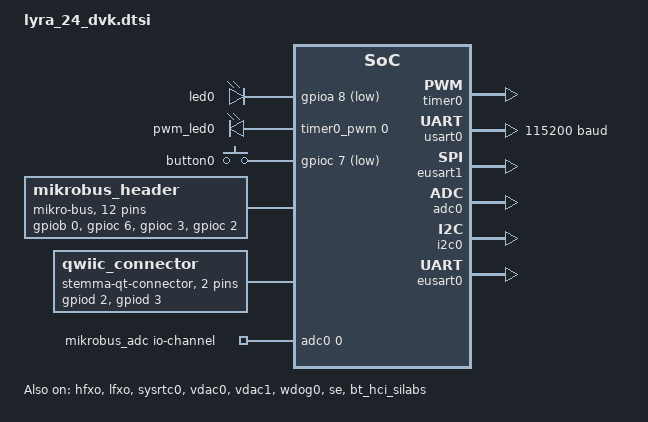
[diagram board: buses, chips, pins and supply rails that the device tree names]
/*
 * Copyright (c) 2020 TriaGnoSys GmbH
 * Copyright (c) 2026 Ezurio LLC
 *
 * SPDX-License-Identifier: Apache-2.0
 */

#include <zephyr/dt-bindings/input/input-event-codes.h>
#include <zephyr/dt-bindings/regulator/silabs_dcdc.h>
#include <zephyr/dt-bindings/pwm/pwm.h>
#include "lyra_24_dvk-pinctrl.dtsi"

/ {
	chosen {
		zephyr,bt-hci = &bt_hci_silabs;
		zephyr,code-partition = &slot0_partition;
		zephyr,console = &usart0;
		zephyr,flash = &flash0;
		zephyr,shell-uart = &usart0;
		zephyr,sram = &sram0;
		zephyr,uart-pipe = &usart0;
	};

	aliases {
		led0 = &led0;
		pwm-led0 = &pwm_led0;
		sw0 = &button0;
		watchdog0 = &wdog0;
	};

	leds {
		compatible = "gpio-leds";

		led0: led_0 {
			gpios = <&gpioa 8 GPIO_ACTIVE_LOW>;
		};
	};

	pwmleds {
		compatible = "pwm-leds";

		pwm_led0: pwm_led_0 {
			pwms = <&timer0_pwm 0 PWM_MSEC(20) PWM_POLARITY_INVERTED>;
		};
	};

	buttons {
		compatible = "gpio-keys";

		button0: button_0 {
			gpios = <&gpioc 7 GPIO_ACTIVE_LOW>;
			zephyr,code = <INPUT_KEY_0>;
		};
	};

	mikrobus_header: mikrobus-connector {
		compatible = "mikro-bus";
		#gpio-cells = <2>;
		gpio-map-mask = <0xffffffff 0>;
		gpio-map-pass-thru = <0 GPIO_DT_FLAGS_MASK>;
		gpio-map = <0 0 &gpiob 0 0>,  /* AN   */
			   <1 0 &gpioc 6 0>,  /* RST  */
			   <2 0 &gpioc 3 0>,  /* CS   */
			   <3 0 &gpioc 2 0>,  /* SCK  */
			   <4 0 &gpioc 5 0>,  /* MISO */
			   <5 0 &gpioc 4 0>,  /* MOSI */
			   <6 0 &gpiob 4 0>,  /* PWM  */
			   <7 0 &gpiob 3 0>,  /* INT  */
			   <8 0 &gpiob 2 0>,  /* RX   */
			   <9 0 &gpiob 1 0>,  /* TX   */
			   <10 0 &gpiod 2 0>, /* SCL  */
			   <11 0 &gpiod 3 0>; /* SDA  */
	};

	qwiic_connector: stemma-qt-connector {
		compatible = "stemma-qt-connector";
		#gpio-cells = <2>;
		gpio-map-mask = <0xffffffff 0>;
		gpio-map-pass-thru = <0 GPIO_DT_FLAGS_MASK>;
		gpio-map = <0 0 &gpiod 2 0>, /* SCL */
			   <1 0 &gpiod 3 0>; /* SDA */
	};

	mikrobus_adc: zephyr,user {
		io-channels = <&adc0 0>;
	};
};

&em23grpaclk {
	clocks = <&lfxo>;
};

&em4grpaclk {
	clocks = <&lfxo>;
};

&sysrtcclk {
	clocks = <&lfxo>;
};

&wdog0clk {
	clocks = <&lfxo>;
};

&wdog1clk {
	clocks = <&lfxo>;
};

&cpu0 {
	clock-frequency = <39000000>;
};

&hfrcodpll {
	clock-frequency = <DT_FREQ_M(39)>;
	clocks = <&hfxo>;
	dpll-autorecover;
	dpll-edge = "fall";
	dpll-lock = "phase";
	dpll-m = <3839>;
	dpll-n = <3839>;
};

&hfxo {
	ctune = <140>;
	precision = <50>;
	status = "okay";
};

&lfxo {
	status = "okay";
	ctune = <63>;
	precision = <50>;
};

&gpio {
	status = "okay";
};

&gpioa {
	status = "okay";
};

&gpiob {
	status = "okay";
};

&gpioc {
	status = "okay";
};

&gpiod {
	status = "okay";
};

&timer0 {
	status = "okay";

	timer0_pwm: pwm {
		pinctrl-0 = <&timer0_default>;
		pinctrl-names = "default";
		status = "okay";
	};
};

&usart0 {
	current-speed = <115200>;
	pinctrl-0 = <&usart0_default>;
	pinctrl-names = "default";
	status = "okay";
};

&dcdc {
	regulator-boot-on;
	regulator-initial-mode = <SILABS_DCDC_MODE_BUCK>;
	status = "okay";
};

&eusart1 {
	compatible = "silabs,eusart-spi";
	#address-cells = <1>;
	#size-cells = <0>;
	pinctrl-0 = <&eusart1_default>;
	pinctrl-names = "default";
	status = "okay";
};

&sysrtc0 {
	status = "okay";
};

&adc0 {
	status = "okay";
};

&vdac0 {
	status = "okay";
};

&vdac1 {
	status = "okay";
};

&i2c0 {
	pinctrl-0 = <&i2c0_default>;
	pinctrl-names = "default";
	status = "okay";
};

&wdog0 {
	status = "okay";
};

&eusart0 {
	compatible = "silabs,eusart-uart";
	pinctrl-0 = <&eusart0_default>;
	pinctrl-names = "default";
	status = "okay";
};

&se {
	status = "okay";
};

&itm {
	pinctrl-0 = <&itm_default>;
	pinctrl-names = "default";
	swo-ref-frequency = <DT_FREQ_M(39)>;
};

&bt_hci_silabs {
	status = "okay";
};

&pti {
	pinctrl-0 = <&pti_default>;
	pinctrl-names = "default";
};

mikrobus_i2c: &i2c0 {};

mikrobus_spi: &eusart1 {};

mikrobus_uart: &eusart0 {};

zephyr_i2c: &i2c0 {};

zephyr_spi: &eusart1 {};

&flash0 {
	partitions {
		compatible = "fixed-partitions";
		#address-cells = <1>;
		#size-cells = <1>;

		/* Reserve 48 kB for the bootloader */
		boot_partition: partition@0 {
			reg = <0x0 DT_SIZE_K(48)>;
			label = "mcuboot";
			read-only;
		};

		/* Reserve 728 kB for the application in slot 0 */
		slot0_partition: partition@c000 {
			reg = <0x0000c000 DT_SIZE_K(728)>;
			label = "image-0";
		};

		/* Reserve 728 kB for the application in slot 1 */
		slot1_partition: partition@c2000 {
			reg = <0x000c2000 DT_SIZE_K(728)>;
			label = "image-1";
		};

		/* Set 32 kB of storage at the end of the 1536 kB of flash */
		storage_partition: partition@178000 {
			reg = <0x00178000 DT_SIZE_K(32)>;
			label = "storage";
		};
	};
};
